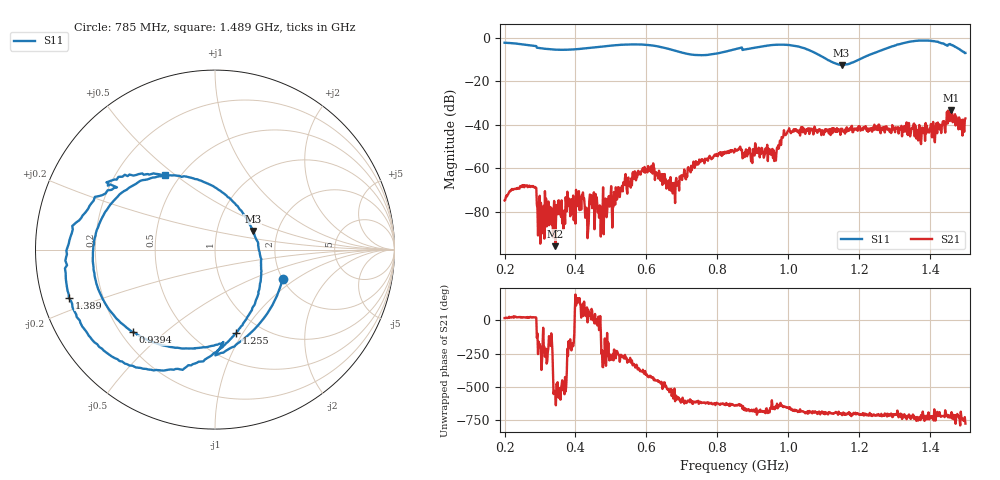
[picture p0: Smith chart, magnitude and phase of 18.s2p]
! NanoVNA-App
! Date: 2024-06-25 16:53:28
! Start: 200MHz Stop: 1.5GHz Points: 801
! S-Parameter data: F S11 S21 S12 S22
# Hz S RI R 50
!  Frequency  S11_Real  S11_Imag  S21_Real  S21_Imag  S12_Real  S12_Imag  S22_Real  S22_Imag
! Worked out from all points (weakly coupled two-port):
!   801 points, 200 MHz to 1.5 GHz, reference 50 ohm
!   highest |S21| = -33.25 dB at 1.459 GHz (marker M1); lowest = -95.9 dB at 343 MHz (marker M2)
!   lowest |S11| = -12.6 dB at 1.151 GHz (marker M3), VSWR 1.61, Z = 74.4 + j16.4 ohm
!   |S11| at or under -10 dB: 1.109 GHz to 1.202 GHz (92.9 MHz wide, 8.04 % of centre)
!   S12 and S22 are empty: the file has one direction only
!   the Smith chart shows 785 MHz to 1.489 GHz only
!   S11 on the Smith chart (normalised r, x): 785 MHz: 2.02, -0.79; 939.4 MHz: 0.25, -0.39; 1.255 GHz: 0.77, -0.94; 1.389 GHz: 0.08, -0.16; 1.489 GHz: 0.41, +0.46
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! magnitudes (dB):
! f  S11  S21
! 200 MHz  -2.4  -74.9
! 276.4 MHz  -3.7  -68.3
! 299.1 MHz  -4.9  -72.8
! 343 MHz  -5.6  -95.9
! 417.8 MHz  -5.1  -72.4
! 469.8 MHz  -4.3  -77.4
! 588.4 MHz  -3.2  -60.8
! 633.9 MHz  -4.1  -64.8
! 676.1 MHz  -5.8  -66.9
! 785 MHz  -7.7  -55.3
! 850 MHz  -5.4  -51.2
! 939.4 MHz  -3.7  -51.3
! 963.8 MHz  -3.3  -56.5
! 994.6 MHz  -3.3  -44.4
! 1.068 GHz  -6.4  -42.1
! 1.151 GHz  -12.6  -42.3
! 1.255 GHz  -6.4  -40.1
! 1.284 GHz  -4.6  -41.8
! 1.389 GHz  -1.3  -44.0
! 1.459 GHz  -3.3  -33.2
! 1.489 GHz  -6.0  -39.3
! 1.5 GHz  -7.1  -37.2
